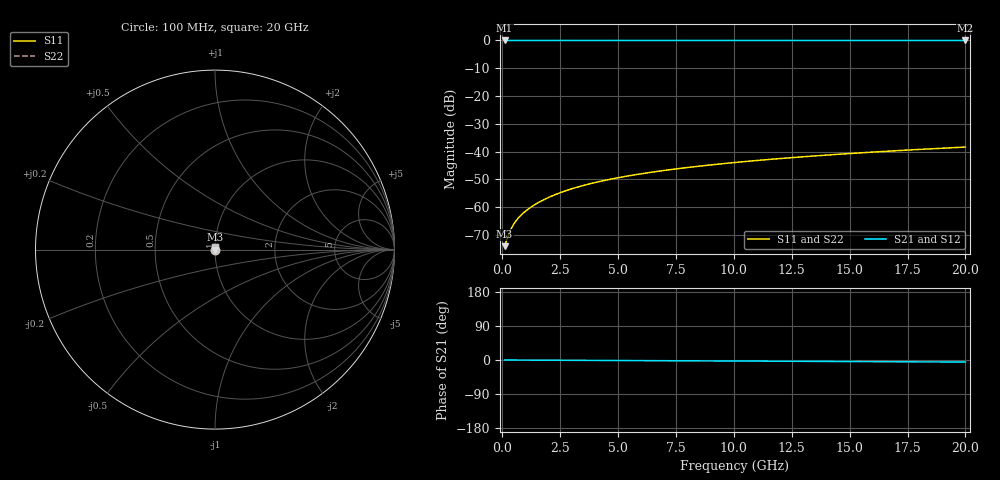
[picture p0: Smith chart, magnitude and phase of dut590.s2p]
! Touchstone file exported from HFSS 2026.1.0
!  File:  C:/ffzhzh/LocalFiles/Ansys_Project_Files/temp_train_TSV_590_1783025180_4048.aedt
!  Generated:  04:47:56 AM Jul  3, 2026
!  Design:  TSV
!  Project:  temp_train_TSV_590_1783025180_4048
! Variables:
!  h_bsmrdl = 2um
!  h_ox = 20um
!  h_rdl = 5um
!  h_sub = 52.37um
!  h_tmrdl = 5um
!  h_tsv = 52.37um
!  h_via = 3um
!  l_bsmrdl = 300um
!  l_sub = 413.3um
!  l_tmrdl = 200um
!  m_sub = 200um
!  pitch = 31.07um
!  r_tsv = 6.65um
!  s_tmrdl = 10um
!  w_bsmrdl = 18um
!  w_sub = 500um
!  w_tmrdl = 12um
!  x_tsv_center1 = 206um
!  x_tsv_center2 = 524um
!  x_tsv_center3 = 736um
!  x_tsv_center4 = 1054um
!  x_tsv_center5 = 1266um
!  x_tsv_center6 = 1584um
# GHz S MA R 50.000000
! Terminal data exported
! Port[1] = TSV1_1_T1
! Port[2] = TSV1_1_T2
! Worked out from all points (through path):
!   200 points, 100 MHz to 20 GHz, reference 50 ohm
!   highest |S21| = 0.00 dB at 100 MHz (marker M1); lowest = 0.0 dB at 20 GHz (marker M2)
!   lowest |S11| = -74.0 dB at 100 MHz (marker M3), VSWR 1.00, Z = 50 + j0.00964 ohm
!   |S11| at or under -10 dB: start of sweep to end of sweep
!   |S22| runs from -74.0 to -38.4 dB; largest |S21 - S12| = 2.2e-15
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0.1  0.0001993 28.9  0.9998 -0.0  0.9998 -0.0  0.0001993 28.9
! Gamma 0 0 0 0
! Port Impedance 50 0 50 0
0.2  0.0002653 45.7  0.9998 -0.1  0.9998 -0.1  0.0002653 45.7
0.3  0.0003433 54.1  0.9998 -0.1  0.9998 -0.1  0.0003433 54.1
0.4  0.0004227 58.7  0.9998 -0.1  0.9998 -0.1  0.0004227 58.7
0.5  0.0004996 61.5  0.9998 -0.1  0.9998 -0.1  0.0004996 61.5
0.6  0.0005736 63.4  0.9997 -0.2  0.9997 -0.2  0.0005736 63.4
0.8  0.000714 66.1  0.9997 -0.2  0.9997 -0.2  0.000714 66.1
1.1  0.0009141 69.0  0.9997 -0.3  0.9997 -0.3  0.0009141 69.0
1.3  0.001045 70.5  0.9997 -0.4  0.9997 -0.4  0.001045 70.5
1.6  0.00124 72.3  0.9996 -0.4  0.9996 -0.4  0.00124 72.3
2.1  0.001565 74.3  0.9996 -0.6  0.9996 -0.6  0.001565 74.3
2.7  0.001953 75.9  0.9995 -0.7  0.9995 -0.7  0.001953 75.9
3.5  0.002463 77.0  0.9995 -1.0  0.9995 -1.0  0.002463 77.0
4.2  0.002901 77.7  0.9994 -1.2  0.9994 -1.2  0.002901 77.7
5  0.003393 78.1  0.9994 -1.4  0.9994 -1.4  0.003393 78.1
5.9  0.003938 78.5  0.9993 -1.6  0.9993 -1.6  0.003938 78.5
6.8  0.004475 78.8  0.9993 -1.9  0.9993 -1.9  0.004475 78.8
8.3  0.00536 79.1  0.9992 -2.3  0.9992 -2.3  0.00536 79.1
10.1  0.006411 79.3  0.9991 -2.8  0.9991 -2.8  0.006411 79.3
13.4  0.008324 79.4  0.999 -3.6  0.999 -3.6  0.008324 79.4
16.7  0.01022 79.1  0.9988 -4.5  0.9988 -4.5  0.01022 79.1
20  0.01208 78.6  0.9987 -5.4  0.9987 -5.4  0.01208 78.6
